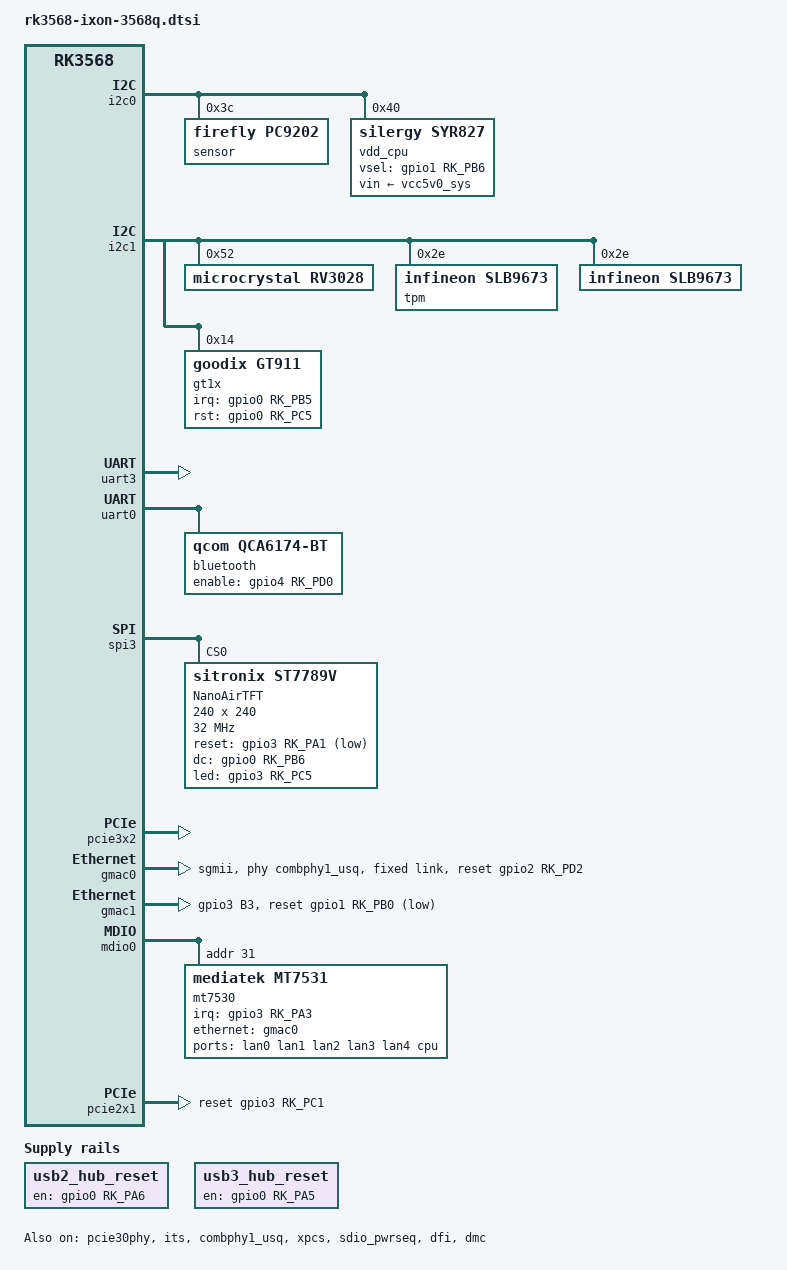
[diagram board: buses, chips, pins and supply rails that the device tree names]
// SPDX-License-Identifier: (GPL-2.0+ OR MIT)
/*
 * Copyright (c) 2020 Rockchip Electronics Co., Ltd.
 *
 */

#include "rk3568-firefly-port.dtsi"

/ {

	usb2_hub_reset: usb2-hub-reset-regulator {
		compatible = "regulator-fixed";
		enable-active-high;
		gpio = <&gpio0 RK_PA6 IRQ_TYPE_EDGE_FALLING>;
		regulator-name = "usb2_hub_reset_n";
		regulator-always-on;
	};

	usb3_hub_reset: usb3-hub-reset-regulator {
		compatible = "regulator-fixed";
		enable-active-high;
		gpio = <&gpio0 RK_PA5 IRQ_TYPE_EDGE_FALLING>;
		regulator-name = "usb3_hub_reset_n";
		regulator-always-on;
	};
};


&pmu_io_domains {
	status = "okay";
	pmuio1-supply = <&vcc3v3_pmu>;
	pmuio2-supply = <&vcc3v3_pmu>;
	vccio1-supply = <&vccio_acodec>;
	vccio3-supply = <&vccio_sd>;
	vccio4-supply = <&vcc_3v3>;
	vccio5-supply = <&vcc_3v3>;
	vccio6-supply = <&vcc_1v8>;
	vccio7-supply = <&vcc_3v3>;
};


&csi2_dphy0 {
	status = "disabled";
};

&csi2_dphy1 {
	status = "disabled";
	/*
	* dphy1 only used for split mode,
	* can be used  concurrently  with dphy2
	* full mode and split mode are mutually exclusive
	*/
};

&csi2_dphy2 {
	status = "disabled";
	/*
	* dphy2 only used for split mode,
	* can be used  concurrently  with dphy1
	* full mode and split mode are mutually exclusive
	*/
};

&rkisp_vir0 {
	status = "disabled";
};

&rkisp_vir1 {
	status = "disabled";
};

&i2c0 {
    status = "okay";
    sensor@3c{
        status = "okay";
        compatible = "firefly,pc9202";
        reg = <0x3c>;
        //wd-en-gpio = <&gpio3 23 GPIO_ACTIVE_HIGH>;
    };
};

&i2c1 {
	status = "okay";
	rv3028@52 {
		status = "okay";
		compatible = "microcrystal,rv3028";
		reg = <0x52>;
			backup-switchover-mode = <0x01>;
			trickle-resistor-ohms = <3000>;
	};
	tpm@2e {
		status = "okay";
		compatible = "infineon,slb9673", "tcg,tpm-tis-i2c";
		reg = <0x2e>;
	};

	slb9673@2e{
		compatible = "infineon,slb9673","tcg,tpm-tis-i2c" ;
		reg = <0x2e>;
		#address-cells = <2>;
		#size-cells = <1>;
		pinctrl-names = "default";
		pinctrl-0 = <&slb9673_gpio>;
		status = "okay";
    };

	gt1x@14 {
		status = "okay";
		compatible = "goodix,gt911";
		reg        = <0x14>;
		pinctrl-0 = <&touch_panel_gpio>;
		interrupt-parent = <&gpio0>;                              //Parent of interrupt.
		interrupts = <RK_PB5 IRQ_TYPE_LEVEL_HIGH>;   			  //Configuration of touch panel  interrupt controller.
		goodix,irq-gpio   = <&gpio0 RK_PB5 IRQ_TYPE_EDGE_RISING>; //Interrupt gpio which is to provide interrupts to  host, same as "interrupts" node.
		goodix,rst-gpio   = <&gpio0 RK_PC5 GPIO_ACTIVE_HIGH>;	  //Reset gpio to control the reset of chip
		irq-flag  = <1>;                                          //1 for rising edge trigger, 2 for failing edge trigger

		touchscreen-size-x = <240>;
		touchscreen-size-y = <240>;
	};
	/delete-node/ xc6130@23;
};

&i2c2{
	status = "disabled";
	pinctrl-0 = <&i2c2m1_xfer>;
};

&i2c0{
	/delete-node/ tcs4525@1c;
	vdd_cpu: syr827-rk8600@40 {
		compatible = "silergy,syr827";
		reg = <0x40>;
		vin-supply = <&vcc5v0_sys>;
		vsel-gpios = <&gpio1 RK_PB6 GPIO_ACTIVE_HIGH>;
		regulator-compatible = "fan53555-reg";
		regulator-name = "vdd_cpu";
		regulator-min-microvolt = <900000>;
		regulator-max-microvolt = <1390000>;
 		regulator-init-microvolt = <1300000>;
		regulator-initial-mode = <1>;
		regulator-ramp-delay = <2300>;
		fcs,suspend-voltage-selector = <1>;
		regulator-boot-on;
		regulator-always-on;
		regulator-state-mem {
			regulator-off-in-suspend;
		};

	};
};

&i2c4{
	status = "disabled";
};

&vcc_camera {
	status = "disabled";
};

&pwm11 {
	status = "disabled";
};

&pwm14 {
	status = "disabled";
};

&i2c5 {
    status = "disabled";
    /delete-node/ hym8563@51;
	/delete-node/ mxc6655xa;
};

&mc3230 {
    status = "disabled";
};

&pca9555 {
    status = "disabled";
};

&uart9 {
	pinctrl-names = "default";
	pinctrl-0 = <&uart9m1_xfer>;
	status = "disabled";
};

&uart3 {
	pinctrl-names = "default";
	pinctrl-0 = <&uart3m0_xfer>;
	status = "okay";
};

&uart0 {
	pinctrl-names = "default";
	pinctrl-0 = <&uart0_xfer &uart0_ctsn &uart0_rtsn>;
	status = "okay";

	bluetooth {
		compatible = "qcom,qca6174-bt";

		enable-gpios = <&gpio4 RK_PD0 GPIO_ACTIVE_HIGH>;
		pinctrl-names = "blt_enable";
// 		clocks = <&divclk4>;
		firmware-name = "nvm_00440302.bin";
	};

};
&pcie30phy {
       status = "okay";
};

&spi1 {
	status = "disabled";
	/delete-property/ pinctrl-0;
	/delete-property/ pinctrl-1;
	/delete-property/ spi_wk2xxx;
};

&spi3 {
	status = "okay";
	max-freq = <48000000>;
	pinctrl-0 = <&spi3m1_pins>;
	pinctrl-1 = <&spi3m1_cs0>;

	#address-cells = <1>;
	#size-cells = <0>;

	NanoAirTFT:NanoAirTFT@0 {
		compatible = "sitronix,st7789v";
		reg = <0>;
		pinctrl-names = "default";
		pinctrl-0 = <&display_pins>;
		spi-max-frequency = <32000000>;
		txbuflen = <16384>;
		fps = <33>;
		buswidth = <8>;
		rotate = <0>;
		width = <240>;
		height = <240>;
		reset-gpios = <&gpio3 RK_PA1 GPIO_ACTIVE_LOW>;
		dc-gpios = <&gpio0 RK_PB6 GPIO_ACTIVE_HIGH>;
		led-gpios = <&gpio3 RK_PC5 GPIO_ACTIVE_HIGH>;
		debug = <4>;
		status = "okay";
// 		bgr = <1>;
		spi-cpol;
		spi-cpha;
	};
};

&pcie3x2 {
    status = "okay";
};

&its {
    status = "okay";
};

&can1 {
    status = "disabled";
};

&can2 {
    status = "disabled";
};

&rk809_sound {
	status = "disabled";
};

/delete-node/ &vcc3v3_vga;

&combphy1_usq {
 	rockchip,sgmii-mac-sel = <0>; /* Use gmac0 for sgmii */
	status = "okay";
};

&xpcs {
	status = "okay";
};

&gmac0 {
	/delete-property/ phy-handle;
    status = "okay";
	snps,reset-gpio = <&gpio2 RK_PD2 GPIO_ACTIVE_HIGH>;
	snps,reset-delays-us = <0 20000 100000>;

	rockchip,pipegrf = <&pipegrf>;
	rockchip,xpcs = <&xpcs>;
	assigned-clocks = <&cru SCLK_GMAC0_RX_TX>;
	assigned-clock-parents = <&gmac0_xpcsclk>;
	power-domains = <&power RK3568_PD_PIPE>;

// 	pinctrl-names = "default";
// 	pinctrl-0 = <&gmac0_gpio
// 			&gmac0_miim>;
	phys = <&combphy1_usq PHY_TYPE_SGMII>;
	phy-mode = "sgmii";
	fixed-link {
		speed = <1000>;
		full-duplex;
	};
};

&gmac1 {
    status = "okay";
    tx_delay = <0x4d>;
    rx_delay = <0x2d>;
	snps,reset-gpio = <&gpio1 RK_PB0 GPIO_ACTIVE_LOW>;

	clock_in_out = "output";
	assigned-clocks = <&cru SCLK_GMAC1_RX_TX>, <&cru SCLK_GMAC1>;
	assigned-clock-rates = <0>, <125000000>;
	assigned-clock-parents = <&cru SCLK_GMAC1_RGMII_SPEED>;

	pinctrl-names = "default";
	pinctrl-0 = <&gmac1_gpio
			 &gmac1m1_miim
		     &gmac1m1_tx_bus2
		     &gmac1m1_rx_bus2
		     &gmac1m1_rgmii_clk
		     &gmac1m1_rgmii_bus>;
};

&mdio0 {
	#address-cells = <1>;
	#size-cells = <0>;

	mt7530: switch@1f {
		compatible = "mediatek,mt7531";
		reg = <0x1f>;
		#address-cells = <1>;
		#size-cells = <0>;
		interrupt-controller;
		interrupt-parent = <&gpio3>;                              //Parent of interrupt.
		interrupts = <RK_PA3 IRQ_TYPE_LEVEL_HIGH>;

// 		reset-gpios = <&gpio2 RK_PD2 GPIO_ACTIVE_HIGH>;

		ports {
			#address-cells = <1>;
			#size-cells = <0>;

			port@0 {
				reg = <0>;
				label = "lan0";
			};

			port@1 {
				reg = <1>;
				label = "lan1";
			};

			port@2 {
				reg = <2>;
				label = "lan2";
			};

			port@3 {
				reg = <3>;
				label = "lan3";
			};

			port@4 {
				reg = <4>;
				label = "lan4";
			};

			cpu_port0: port@6 {
				reg = <6>;
				label = "cpu";
				ethernet = <&gmac0>;
				phy-mode = "1000base-x";
				fixed-link {
					speed = <1000>;
					full-duplex;
					pause;
				};
			};
		};
	};
};

&rgmii_phy0 {
	status = "disabled";
	led_status_value = <0x6940>;
};

&rgmii_phy1 {
	led_status_value = <0x6940>;
};

&uart8 {
	status = "disabled";
};

&sdio_pwrseq {
	status = "okay";
	reset-rebootgpios = <&gpio3 RK_PD5 GPIO_ACTIVE_LOW>;
	post-power-on-delay-ms = <100>;
};

/delete-node/ &wireless_bluetooth;

&spdif_8ch{
    status = "disabled";
};

&rk809_codec {
    spk-ctl-gpios = <&pca9555 PCA_IO0_7 GPIO_ACTIVE_HIGH>;
	/delete-property/ pinctrl-1;
    hp-ctl-gpios = <&gpio2 RK_PC1 GPIO_ACTIVE_HIGH>;
    hp-det-adc-value = <200>;
    hp-adc-drift-scope = <200>;
};

&rk809 {
    rtc {
        status = "disabled";
    };
};

&pwm7 {
	status = "disabled";
};

&sata1 {
	status = "disabled";
};

&usbhost30 {
	status = "disabled";
};

&usbhost_dwc3 {
	status = "disabled";
};

&sata2 {
	status = "disabled";
};

&pcie2x1 {
	status = "okay";
	pinctrl-0 = <&pcie20m1_pins>;
	pinctrl-1 = <&wlanen_pins>;
	reset-gpios = <&gpio3 RK_PC1 GPIO_ACTIVE_HIGH>;
};

&hdmi {
	status = "disabled";
};

&hdmi_in_vp0 {
	status = "disabled";
};

&hdmi_in_vp1 {
	status = "disabled";
};

&hdmi_sound {
	status = "disabled";
};

&dfi {
       status = "okay";
};

&dmc {
       status = "okay";
};

&pinctrl {

	slb9673 {
		slb9673_gpio: slb9673-gpio{
			rockchip,pins =
			/*TPM_RST*/
			<3 RK_PC0 RK_FUNC_GPIO &pcfg_pull_up>;
		};
	};

	gmac1{
			gmac1_gpio: gmac1-gpio {
				rockchip,pins =
					/* TODO:HOt fix for LTE modem to be enabled on 5.2 board.Probably should not be in gma1 node.*/
					<3 RK_PB3 RK_FUNC_GPIO &pcfg_output_high_pull_up>;
			};
		};

	gmac0 {
		gmac0_gpio: gmac0-gpio {
			rockchip,pins =
				/* gmac0_rst */
				<2 RK_PD2 RK_FUNC_GPIO &pcfg_pull_none>,
				/* gmac0_rst */
				<3 RK_PA3 RK_FUNC_GPIO &pcfg_pull_none>;
// 				/* gmac0_mdc */
// 				<2 RK_PC3 2 &pcfg_pull_up>,
// 				/* gmac0_mdio */
// 				<2 RK_PC4 2 &pcfg_pull_up>;
		};
	};


	pcie30x2 {
		pcie30x2m1_pins: pcie30x2m1-pins {
			rockchip,pins =
				/* pcie30x2_clkreqnm1 */
				<2 RK_PD4 4 &pcfg_pull_none>,
				/* pcie30x2_perstnm1 */
				<2 RK_PD6 4 &pcfg_pull_none>,
				/* pcie30x2_wakenm1 */
				<2 RK_PD5 4 &pcfg_pull_none>;
		};
	};

	pcie20x2 {
		wlanen_pins: wlanen_pins {
			rockchip,pins =
				/* pcie20_en */
				<4 RK_PD1 RK_FUNC_GPIO &pcfg_pull_up_drv_level_1>;
		};
	};

	display {
	display_pins: display_pins {
		rockchip,pins =
			<0 RK_PB6 RK_FUNC_GPIO &pcfg_pull_up>,		  //dc_gpios
			<3 RK_PC5 RK_FUNC_GPIO &pcfg_pull_up>,        //led_gpios
			<3 RK_PA1 RK_FUNC_GPIO &pcfg_pull_up>;	      //reset_gpios
		};
	};

	gt911 {
		touch_panel_gpio: touch_panel_gpio{
			rockchip,pins =
			<0  RK_PB5 RK_FUNC_GPIO &pcfg_pull_none>,			//Interupt pin
			<0  RK_PC5 RK_FUNC_GPIO &pcfg_pull_up>;				//Reset pin should have external 10 kOmh resistor.
		};
	};

	bluetooth {
		blt_enable: blt_enable {
			rockchip,pins =
				<4 RK_PD0 RK_FUNC_GPIO &pcfg_pull_up>;

		};
	};

};
